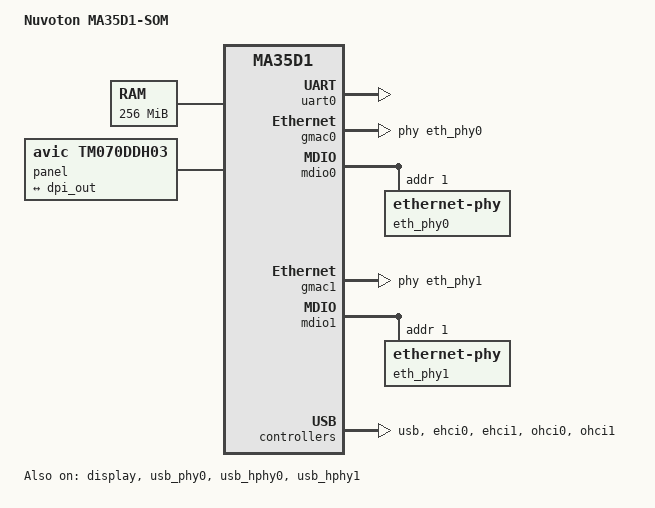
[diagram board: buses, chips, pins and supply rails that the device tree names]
// SPDX-License-Identifier: GPL-2.0
/*
 * Copyright (C) 2023 Nuvoton Technology Corp.
 * Author: Shan-Chun Hung <schung@nuvoton.com>
 *         Jacky huang <ychuang3@nuvoton.com>
 */

/dts-v1/;
#include "ma35d1.dtsi"

/ {
	model = "Nuvoton MA35D1-SOM";
	compatible = "nuvoton,ma35d1-som", "nuvoton,ma35d1";

	aliases {
		serial0 = &uart0;
		ethernet0 = &gmac0;
		ethernet1 = &gmac1;
	};

	chosen {
		stdout-path = "serial0:115200n8";
	};

	mem: memory@80000000 {
		device_type = "memory";
		reg = <0x00000000 0x80000000 0 0x10000000>; /* 256M DRAM */
	};

	clk_hxt: clock-hxt {
		compatible = "fixed-clock";
		#clock-cells = <0>;
		clock-frequency = <24000000>;
		clock-output-names = "clk_hxt";
	};

	panel {
		compatible = "avic,tm070ddh03";

		port {
			panel_in: endpoint {
				remote-endpoint = <&dpi_out>;
			};
		};
	};
};

&clk {
	assigned-clocks = <&clk CAPLL>,
			  <&clk DDRPLL>,
			  <&clk APLL>,
			  <&clk EPLL>,
			  <&clk VPLL>;
	assigned-clock-rates = <800000000>,
			       <266000000>,
			       <180000000>,
			       <500000000>,
			       <102000000>;
	nuvoton,pll-mode = "integer",
			   "fractional",
			   "integer",
			   "integer",
			   "integer";
};

&pinctrl {
	uart-grp {
		pinctrl_uart0: uart0-pins {
			nuvoton,pins = <4 14 1>,
				       <4 15 1>;
			bias-disable;
			power-source = <1>;
		};

		pinctrl_uart11: uart11-pins {
			nuvoton,pins = <11 0 2>,
				       <11 1 2>,
				       <11 2 2>,
				       <11 3 2>;
			bias-disable;
			power-source = <1>;
		};

		pinctrl_uart12: uart12-pins {
			nuvoton,pins = <8 1 2>,
				       <8 2 2>,
				       <8 3 2>;
			bias-disable;
			power-source = <1>;
		};

		pinctrl_uart14: uart14-pins {
			nuvoton,pins = <8 5 2>,
				       <8 6 2>,
				       <8 7 2>;
			bias-disable;
			power-source = <1>;
		};

		pinctrl_uart16: uart16-pins {
			nuvoton,pins = <10 0 2>,
				       <10 1 2>,
				       <10 2 2>,
				       <10 3 2>;
			bias-disable;
			power-source = <1>;
		};
	};

	dcu {
		pinctrl_display: display-pins {
			nuvoton,pins =
				       <6 8 6>,  /* VSYNC */
				       <6 9 6>,  /* HSYNC */
				       <6 10 6>, /* CLK */
				       <10 4 6>, /* DE */
				       <8 8 6>,  /* D0 - D23 */
				       <8 9 6>,
				       <8 10 6>,
				       <8 11 6>,
				       <8 12 6>,
				       <8 13 6>,
				       <8 14 6>,
				       <8 15 6>,
				       <7 0 6>,
				       <7 1 6>,
				       <7 2 6>,
				       <7 3 6>,
				       <7 4 6>,
				       <7 5 6>,
				       <7 6 6>,
				       <7 7 6>,
				       <2 12 6>,
				       <2 13 6>,
				       <2 14 6>,
				       <2 15 6>,
				       <7 12 6>,
				       <7 13 6>,
				       <7 14 6>,
				       <7 15 6>;
			bias-disable;
			power-source = <1>;
		};
	};

	hsusbh {
		pinctrl_hsusbh: hsusbh-pins {
			nuvoton,pins = <5 15 1>, /* OTG_VBUS */
				       <11 12 9>,    /* PWREN */
				       <11 13 9>;    /* OVC */
			bias-disable;
			power-source = <1>;
		};
	};
};

&uart0 {
	pinctrl-names = "default";
	pinctrl-0 = <&pinctrl_uart0>;
	status = "okay";
};

&gmac0 {
	phy-handle = <&eth_phy0>;
	status = "okay";
};

&mdio0 {
	eth_phy0: ethernet-phy@1 {
		reg = <1>;
	};
};

&gmac1 {
	phy-handle = <&eth_phy1>;
	status = "okay";
};

&mdio1 {
	eth_phy1: ethernet-phy@1 {
		reg = <1>;
	};
};

&display {
	pinctrl-names = "default";
	pinctrl-0 = <&pinctrl_display>;
	status = "okay";

	ports {
		#address-cells = <1>;
		#size-cells = <0>;

		port@0 {
			reg = <0>;
			dpi_out: endpoint {
				remote-endpoint = <&panel_in>;
			};
		};
	};
};

&usb_phy0 {
	status = "okay";
};

&usb {
	status = "okay";
};

&usb_hphy0 {
	nuvoton,rcalcode = <7>;
	status = "okay";
};

&usb_hphy1 {
	nuvoton,rcalcode = <7>;
	status = "okay";
};

&ehci0 {
	pinctrl-names = "default";
	pinctrl-0 = <&pinctrl_hsusbh>;
	status = "okay";
};

&ehci1 {
	status = "okay";
};

&ohci0 {
	status = "okay";
};

&ohci1 {
	status = "okay";
};
